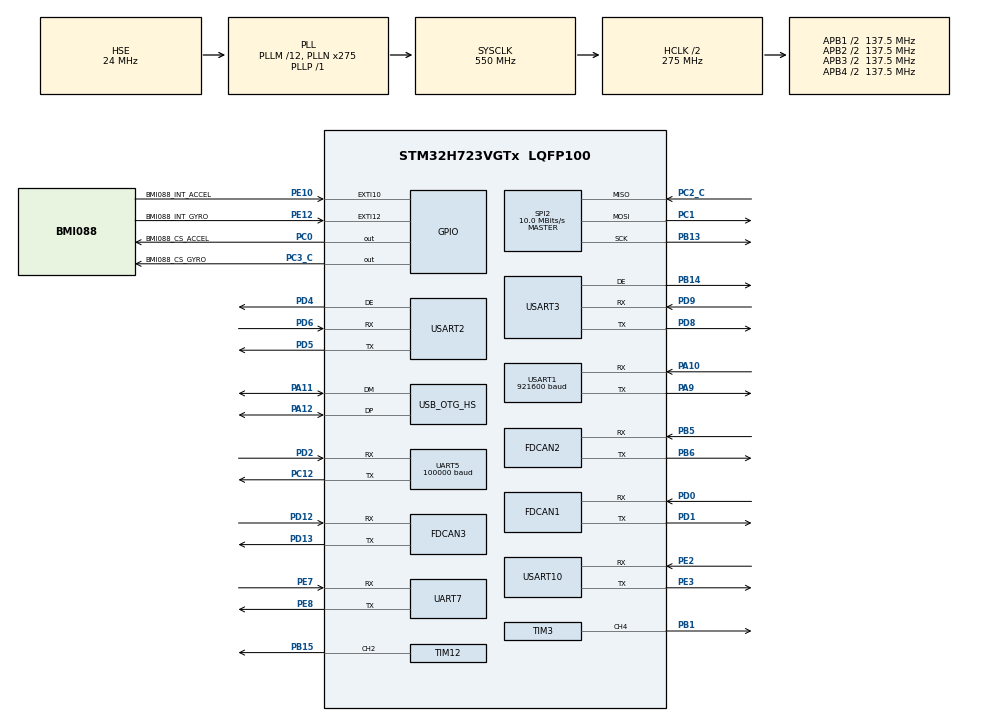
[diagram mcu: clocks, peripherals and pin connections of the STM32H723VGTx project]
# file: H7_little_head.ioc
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CORTEX_M7.AccessPermission_S-Cortex_Memory_Protection_Unit_Region1_Settings_S=MPU_REGION_FULL_ACCESS
CORTEX_M7.BaseAddress_S-Cortex_Memory_Protection_Unit_Region1_Settings_S=0x24000000
CORTEX_M7.BaseAddress_Spec=0x0
CORTEX_M7.CPU_DCache=Enabled
CORTEX_M7.CPU_ICache=Enabled
CORTEX_M7.DisableExec_S-Cortex_Memory_Protection_Unit_Region1_Settings_S=MPU_INSTRUCTION_ACCESS_DISABLE
CORTEX_M7.Enable_S-Cortex_Memory_Protection_Unit_Region1_Settings_S=MPU_REGION_ENABLE
CORTEX_M7.Enable_S-Cortex_Memory_Protection_Unit_Region2_Settings_S=__NULL
CORTEX_M7.Enable_Spec=MPU_REGION_ENABLE
CORTEX_M7.IsShareable_S-Cortex_Memory_Protection_Unit_Region1_Settings_S=MPU_ACCESS_SHAREABLE
CORTEX_M7.Size_S-Cortex_Memory_Protection_Unit_Region1_Settings_S=MPU_REGION_SIZE_512KB
CORTEX_M7.Size_Spec=MPU_REGION_SIZE_4GB
CORTEX_M7.TypeExtField_S-Cortex_Memory_Protection_Unit_Region1_Settings_S=MPU_TEX_LEVEL1
CORTEX_M7.default_mode_Activation=1
Dma.Request0=UART5_RX
Dma.Request1=USART1_RX
Dma.Request10=USART3_TX
Dma.Request2=USART1_TX
Dma.Request3=UART7_RX
Dma.Request4=UART7_TX
Dma.Request5=USART10_RX
Dma.Request6=USART10_TX
Dma.Request7=USART3_RX
Dma.Request8=USART2_RX
Dma.Request9=USART2_TX
Dma.UART5_RX.0.Direction=DMA_PERIPH_TO_MEMORY
Dma.UART5_RX.0.EventEnable=DISABLE
Dma.UART5_RX.0.FIFOMode=DMA_FIFOMODE_DISABLE
Dma.UART5_RX.0.Instance=DMA1_Stream0
Dma.UART5_RX.0.MemDataAlignment=DMA_MDATAALIGN_BYTE
Dma.UART5_RX.0.MemInc=DMA_MINC_ENABLE
Dma.UART5_RX.0.Mode=DMA_CIRCULAR
Dma.UART5_RX.0.PeriphDataAlignment=DMA_PDATAALIGN_BYTE
Dma.UART5_RX.0.PeriphInc=DMA_PINC_DISABLE
Dma.UART5_RX.0.Polarity=HAL_DMAMUX_REQ_GEN_RISING
Dma.UART5_RX.0.Priority=DMA_PRIORITY_VERY_HIGH
Dma.UART5_RX.0.RequestNumber=1
Dma.UART5_RX.0.SignalID=NONE
Dma.UART5_RX.0.SyncEnable=DISABLE
Dma.UART5_RX.0.SyncPolarity=HAL_DMAMUX_SYNC_NO_EVENT
Dma.UART5_RX.0.SyncRequestNumber=1
Dma.UART5_RX.0.SyncSignalID=NONE
Dma.UART7_RX.3.Direction=DMA_PERIPH_TO_MEMORY
Dma.UART7_RX.3.EventEnable=DISABLE
Dma.UART7_RX.3.FIFOMode=DMA_FIFOMODE_DISABLE
Dma.UART7_RX.3.Instance=DMA1_Stream1
Dma.UART7_RX.3.MemDataAlignment=DMA_MDATAALIGN_BYTE
Dma.UART7_RX.3.MemInc=DMA_MINC_ENABLE
Dma.UART7_RX.3.Mode=DMA_CIRCULAR
Dma.UART7_RX.3.PeriphDataAlignment=DMA_PDATAALIGN_BYTE
Dma.UART7_RX.3.PeriphInc=DMA_PINC_DISABLE
Dma.UART7_RX.3.Polarity=HAL_DMAMUX_REQ_GEN_RISING
Dma.UART7_RX.3.Priority=DMA_PRIORITY_VERY_HIGH
Dma.UART7_RX.3.RequestNumber=1
Dma.UART7_RX.3.SignalID=NONE
Dma.UART7_RX.3.SyncEnable=DISABLE
Dma.UART7_RX.3.SyncPolarity=HAL_DMAMUX_SYNC_NO_EVENT
Dma.UART7_RX.3.SyncRequestNumber=1
Dma.UART7_RX.3.SyncSignalID=NONE
Dma.UART7_TX.4.Direction=DMA_MEMORY_TO_PERIPH
Dma.UART7_TX.4.EventEnable=DISABLE
Dma.UART7_TX.4.FIFOMode=DMA_FIFOMODE_DISABLE
Dma.UART7_TX.4.Instance=DMA1_Stream2
Dma.UART7_TX.4.MemDataAlignment=DMA_MDATAALIGN_BYTE
Dma.UART7_TX.4.MemInc=DMA_MINC_ENABLE
Dma.UART7_TX.4.Mode=DMA_NORMAL
Dma.UART7_TX.4.PeriphDataAlignment=DMA_PDATAALIGN_BYTE
Dma.UART7_TX.4.PeriphInc=DMA_PINC_DISABLE
Dma.UART7_TX.4.Polarity=HAL_DMAMUX_REQ_GEN_RISING
Dma.UART7_TX.4.Priority=DMA_PRIORITY_MEDIUM
Dma.UART7_TX.4.RequestNumber=1
Dma.UART7_TX.4.SignalID=NONE
Dma.UART7_TX.4.SyncEnable=DISABLE
Dma.UART7_TX.4.SyncPolarity=HAL_DMAMUX_SYNC_NO_EVENT
Dma.UART7_TX.4.SyncRequestNumber=1
Dma.UART7_TX.4.SyncSignalID=NONE
Dma.USART10_RX.5.Direction=DMA_PERIPH_TO_MEMORY
Dma.USART10_RX.5.EventEnable=DISABLE
Dma.USART10_RX.5.FIFOMode=DMA_FIFOMODE_DISABLE
Dma.USART10_RX.5.Instance=DMA2_Stream2
Dma.USART10_RX.5.MemDataAlignment=DMA_MDATAALIGN_BYTE
Dma.USART10_RX.5.MemInc=DMA_MINC_ENABLE
Dma.USART10_RX.5.Mode=DMA_CIRCULAR
Dma.USART10_RX.5.PeriphDataAlignment=DMA_PDATAALIGN_BYTE
Dma.USART10_RX.5.PeriphInc=DMA_PINC_DISABLE
Dma.USART10_RX.5.Polarity=HAL_DMAMUX_REQ_GEN_RISING
Dma.USART10_RX.5.Priority=DMA_PRIORITY_VERY_HIGH
Dma.USART10_RX.5.RequestNumber=1
Dma.USART10_RX.5.SignalID=NONE
Dma.USART10_RX.5.SyncEnable=DISABLE
Dma.USART10_RX.5.SyncPolarity=HAL_DMAMUX_SYNC_NO_EVENT
Dma.USART10_RX.5.SyncRequestNumber=1
Dma.USART10_RX.5.SyncSignalID=NONE
Dma.USART10_TX.6.Direction=DMA_MEMORY_TO_PERIPH
Dma.USART10_TX.6.EventEnable=DISABLE
Dma.USART10_TX.6.FIFOMode=DMA_FIFOMODE_DISABLE
Dma.USART10_TX.6.Instance=DMA2_Stream3
Dma.USART10_TX.6.MemDataAlignment=DMA_MDATAALIGN_BYTE
Dma.USART10_TX.6.MemInc=DMA_MINC_ENABLE
Dma.USART10_TX.6.Mode=DMA_NORMAL
Dma.USART10_TX.6.PeriphDataAlignment=DMA_PDATAALIGN_BYTE
Dma.USART10_TX.6.PeriphInc=DMA_PINC_DISABLE
Dma.USART10_TX.6.Polarity=HAL_DMAMUX_REQ_GEN_RISING
Dma.USART10_TX.6.Priority=DMA_PRIORITY_MEDIUM
Dma.USART10_TX.6.RequestNumber=1
Dma.USART10_TX.6.SignalID=NONE
Dma.USART10_TX.6.SyncEnable=DISABLE
Dma.USART10_TX.6.SyncPolarity=HAL_DMAMUX_SYNC_NO_EVENT
Dma.USART10_TX.6.SyncRequestNumber=1
Dma.USART10_TX.6.SyncSignalID=NONE
Dma.USART1_RX.1.Direction=DMA_PERIPH_TO_MEMORY
Dma.USART1_RX.1.EventEnable=DISABLE
Dma.USART1_RX.1.FIFOMode=DMA_FIFOMODE_DISABLE
Dma.USART1_RX.1.Instance=DMA2_Stream1
Dma.USART1_RX.1.MemDataAlignment=DMA_MDATAALIGN_BYTE
Dma.USART1_RX.1.MemInc=DMA_MINC_ENABLE
Dma.USART1_RX.1.Mode=DMA_CIRCULAR
Dma.USART1_RX.1.PeriphDataAlignment=DMA_PDATAALIGN_BYTE
Dma.USART1_RX.1.PeriphInc=DMA_PINC_DISABLE
Dma.USART1_RX.1.Polarity=HAL_DMAMUX_REQ_GEN_RISING
Dma.USART1_RX.1.Priority=DMA_PRIORITY_VERY_HIGH
Dma.USART1_RX.1.RequestNumber=1
Dma.USART1_RX.1.SignalID=NONE
Dma.USART1_RX.1.SyncEnable=DISABLE
Dma.USART1_RX.1.SyncPolarity=HAL_DMAMUX_SYNC_NO_EVENT
Dma.USART1_RX.1.SyncRequestNumber=1
Dma.USART1_RX.1.SyncSignalID=NONE
Dma.USART1_TX.2.Direction=DMA_MEMORY_TO_PERIPH
Dma.USART1_TX.2.EventEnable=DISABLE
Dma.USART1_TX.2.FIFOMode=DMA_FIFOMODE_DISABLE
Dma.USART1_TX.2.Instance=DMA2_Stream0
Dma.USART1_TX.2.MemDataAlignment=DMA_MDATAALIGN_BYTE
Dma.USART1_TX.2.MemInc=DMA_MINC_ENABLE
Dma.USART1_TX.2.Mode=DMA_NORMAL
Dma.USART1_TX.2.PeriphDataAlignment=DMA_PDATAALIGN_BYTE
Dma.USART1_TX.2.PeriphInc=DMA_PINC_DISABLE
Dma.USART1_TX.2.Polarity=HAL_DMAMUX_REQ_GEN_RISING
Dma.USART1_TX.2.Priority=DMA_PRIORITY_MEDIUM
Dma.USART1_TX.2.RequestNumber=1
Dma.USART1_TX.2.SignalID=NONE
Dma.USART1_TX.2.SyncEnable=DISABLE
Dma.USART1_TX.2.SyncPolarity=HAL_DMAMUX_SYNC_NO_EVENT
Dma.USART1_TX.2.SyncRequestNumber=1
Dma.USART1_TX.2.SyncSignalID=NONE
Dma.USART2_RX.8.Direction=DMA_PERIPH_TO_MEMORY
Dma.USART2_RX.8.EventEnable=DISABLE
Dma.USART2_RX.8.FIFOMode=DMA_FIFOMODE_DISABLE
Dma.USART2_RX.8.Instance=DMA1_Stream3
Dma.USART2_RX.8.MemDataAlignment=DMA_MDATAALIGN_BYTE
Dma.USART2_RX.8.MemInc=DMA_MINC_ENABLE
Dma.USART2_RX.8.Mode=DMA_CIRCULAR
Dma.USART2_RX.8.PeriphDataAlignment=DMA_PDATAALIGN_BYTE
Dma.USART2_RX.8.PeriphInc=DMA_PINC_DISABLE
Dma.USART2_RX.8.Polarity=HAL_DMAMUX_REQ_GEN_RISING
Dma.USART2_RX.8.Priority=DMA_PRIORITY_HIGH
Dma.USART2_RX.8.RequestNumber=1
Dma.USART2_RX.8.SignalID=NONE
Dma.USART2_RX.8.SyncEnable=DISABLE
Dma.USART2_RX.8.SyncPolarity=HAL_DMAMUX_SYNC_NO_EVENT
Dma.USART2_RX.8.SyncRequestNumber=1
Dma.USART2_RX.8.SyncSignalID=NONE
Dma.USART2_TX.9.Direction=DMA_MEMORY_TO_PERIPH
Dma.USART2_TX.9.EventEnable=DISABLE
Dma.USART2_TX.9.FIFOMode=DMA_FIFOMODE_DISABLE
Dma.USART2_TX.9.Instance=DMA1_Stream4
Dma.USART2_TX.9.MemDataAlignment=DMA_MDATAALIGN_BYTE
Dma.USART2_TX.9.MemInc=DMA_MINC_ENABLE
Dma.USART2_TX.9.Mode=DMA_NORMAL
Dma.USART2_TX.9.PeriphDataAlignment=DMA_PDATAALIGN_BYTE
Dma.USART2_TX.9.PeriphInc=DMA_PINC_DISABLE
Dma.USART2_TX.9.Polarity=HAL_DMAMUX_REQ_GEN_RISING
Dma.USART2_TX.9.Priority=DMA_PRIORITY_LOW
Dma.USART2_TX.9.RequestNumber=1
Dma.USART2_TX.9.SignalID=NONE
Dma.USART2_TX.9.SyncEnable=DISABLE
Dma.USART2_TX.9.SyncPolarity=HAL_DMAMUX_SYNC_NO_EVENT
Dma.USART2_TX.9.SyncRequestNumber=1
Dma.USART2_TX.9.SyncSignalID=NONE
Dma.USART3_RX.7.Direction=DMA_PERIPH_TO_MEMORY
Dma.USART3_RX.7.EventEnable=DISABLE
Dma.USART3_RX.7.FIFOMode=DMA_FIFOMODE_DISABLE
Dma.USART3_RX.7.Instance=DMA2_Stream4
Dma.USART3_RX.7.MemDataAlignment=DMA_MDATAALIGN_BYTE
Dma.USART3_RX.7.MemInc=DMA_MINC_ENABLE
Dma.USART3_RX.7.Mode=DMA_CIRCULAR
Dma.USART3_RX.7.PeriphDataAlignment=DMA_PDATAALIGN_BYTE
Dma.USART3_RX.7.PeriphInc=DMA_PINC_DISABLE
Dma.USART3_RX.7.Polarity=HAL_DMAMUX_REQ_GEN_RISING
Dma.USART3_RX.7.Priority=DMA_PRIORITY_HIGH
Dma.USART3_RX.7.RequestNumber=1
Dma.USART3_RX.7.SignalID=NONE
Dma.USART3_RX.7.SyncEnable=DISABLE
Dma.USART3_RX.7.SyncPolarity=HAL_DMAMUX_SYNC_NO_EVENT
Dma.USART3_RX.7.SyncRequestNumber=1
Dma.USART3_RX.7.SyncSignalID=NONE
Dma.USART3_TX.10.Direction=DMA_MEMORY_TO_PERIPH
Dma.USART3_TX.10.EventEnable=DISABLE
Dma.USART3_TX.10.FIFOMode=DMA_FIFOMODE_DISABLE
Dma.USART3_TX.10.Instance=DMA2_Stream5
Dma.USART3_TX.10.MemDataAlignment=DMA_MDATAALIGN_BYTE
Dma.USART3_TX.10.MemInc=DMA_MINC_ENABLE
Dma.USART3_TX.10.Mode=DMA_NORMAL
Dma.USART3_TX.10.PeriphDataAlignment=DMA_PDATAALIGN_BYTE
Dma.USART3_TX.10.PeriphInc=DMA_PINC_DISABLE
Dma.USART3_TX.10.Polarity=HAL_DMAMUX_REQ_GEN_RISING
Dma.USART3_TX.10.Priority=DMA_PRIORITY_LOW
Dma.USART3_TX.10.RequestNumber=1
Dma.USART3_TX.10.SignalID=NONE
Dma.USART3_TX.10.SyncEnable=DISABLE
Dma.USART3_TX.10.SyncPolarity=HAL_DMAMUX_SYNC_NO_EVENT
Dma.USART3_TX.10.SyncRequestNumber=1
Dma.USART3_TX.10.SyncSignalID=NONE
FDCAN1.CalculateBaudRateNominal=1000000
FDCAN1.CalculateTimeBitNominal=1000
FDCAN1.CalculateTimeQuantumNominal=62.5
FDCAN1.NominalPrescaler=5
FDCAN1.NominalSyncJumpWidth=2
FDCAN1.NominalTimeSeg1=13
FDCAN1.NominalTimeSeg2=2
FDCAN1.RxFifo0ElmtsNbr=32
FDCAN1.StdFiltersNbr=1
FDCAN1.TxFifoQueueElmtsNbr=32
FDCAN2.AutoRetransmission=DISABLE
FDCAN2.CalculateBaudRateNominal=1000000
FDCAN2.CalculateTimeBitNominal=1000
FDCAN2.CalculateTimeQuantumNominal=62.5
FDCAN2.MessageRAMOffset=853
FDCAN2.NominalPrescaler=5
FDCAN2.NominalSyncJumpWidth=2
FDCAN2.NominalTimeSeg1=13
FDCAN2.NominalTimeSeg2=2
FDCAN2.RxFifo0ElmtsNbr=32
FDCAN2.StdFiltersNbr=1
FDCAN2.TxFifoQueueElmtsNbr=32
FDCAN3.AutoRetransmission=DISABLE
FDCAN3.CalculateBaudRateNominal=1000000
FDCAN3.CalculateTimeBitNominal=1000
FDCAN3.CalculateTimeQuantumNominal=62.5
FDCAN3.MessageRAMOffset=1706
FDCAN3.NominalPrescaler=5
FDCAN3.NominalSyncJumpWidth=2
FDCAN3.NominalTimeSeg1=13
FDCAN3.NominalTimeSeg2=2
FDCAN3.RxFifo0ElmtsNbr=32
FDCAN3.StdFiltersNbr=1
FDCAN3.TxFifoQueueElmtsNbr=32
FREERTOS.Tasks01=defaultTask,55,128,StartDefaultTask,As weak,NULL,Dynamic,NULL,NULL
Mcu.Family=STM32H7
Mcu.Name=STM32H723VGTx
Mcu.Package=LQFP100
NVIC.DMA1_Stream0_IRQn=true\:6\:0\:true\:false\:true\:true\:false\:true\:true
NVIC.DMA1_Stream1_IRQn=true\:7\:0\:true\:false\:true\:true\:false\:true\:true
NVIC.DMA1_Stream2_IRQn=true\:7\:0\:true\:false\:true\:true\:false\:true\:true
NVIC.DMA1_Stream3_IRQn=true\:8\:0\:true\:false\:true\:true\:false\:true\:true
NVIC.DMA1_Stream4_IRQn=true\:8\:0\:true\:false\:true\:true\:false\:true\:true
NVIC.DMA2_Stream0_IRQn=true\:7\:0\:true\:false\:true\:true\:false\:true\:true
NVIC.DMA2_Stream1_IRQn=true\:7\:0\:true\:false\:true\:true\:false\:true\:true
NVIC.DMA2_Stream2_IRQn=true\:7\:0\:true\:false\:true\:true\:false\:true\:true
NVIC.DMA2_Stream3_IRQn=true\:7\:0\:true\:false\:true\:true\:false\:true\:true
NVIC.DMA2_Stream4_IRQn=true\:8\:0\:true\:false\:true\:false\:false\:true\:true
NVIC.DMA2_Stream5_IRQn=true\:8\:0\:true\:false\:true\:false\:false\:true\:true
NVIC.EXTI15_10_IRQn=true\:5\:0\:true\:false\:true\:false\:true\:true\:true
NVIC.FDCAN1_IT0_IRQn=true\:5\:0\:false\:false\:true\:true\:true\:true\:true
NVIC.FDCAN2_IT0_IRQn=true\:5\:0\:false\:false\:true\:true\:true\:true\:true
NVIC.FDCAN3_IT0_IRQn=true\:5\:0\:false\:false\:true\:true\:true\:true\:true
NVIC.OTG_HS_IRQn=true\:5\:0\:false\:false\:true\:true\:false\:true\:true
NVIC.PriorityGroup=NVIC_PRIORITYGROUP_4
NVIC.TIM6_DAC_IRQn=true\:15\:0\:false\:false\:true\:false\:false\:true\:true
NVIC.TIM7_IRQn=true\:5\:0\:false\:false\:true\:true\:true\:true\:true
NVIC.TimeBase=TIM6_DAC_IRQn
NVIC.TimeBaseIP=TIM6
NVIC.UART5_IRQn=true\:6\:0\:true\:false\:true\:true\:true\:true\:true
NVIC.UART7_IRQn=true\:7\:0\:true\:false\:true\:true\:true\:true\:true
NVIC.USART10_IRQn=true\:7\:0\:true\:false\:true\:true\:true\:true\:true
NVIC.USART1_IRQn=true\:7\:0\:true\:false\:true\:true\:true\:true\:true
NVIC.USART2_IRQn=true\:8\:0\:true\:false\:true\:true\:true\:true\:true
NVIC.USART3_IRQn=true\:8\:0\:true\:false\:true\:true\:true\:true\:true
PA10.Mode=Asynchronous
PA10.Signal=USART1_RX
PA11.Mode=Device_Only_FS
PA11.Signal=USB_OTG_HS_DM
PA12.Mode=Device_Only_FS
PA12.Signal=USB_OTG_HS_DP
PA13(JTMS/SWDIO).Mode=Serial_Wire
PA13(JTMS/SWDIO).Signal=DEBUG_JTMS-SWDIO
PA14(JTCK/SWCLK).Mode=Serial_Wire
PA14(JTCK/SWCLK).Signal=DEBUG_JTCK-SWCLK
PA9.Mode=Asynchronous
PA9.Signal=USART1_TX
PB1.Signal=S_TIM3_CH4
PB13.GPIO_Speed=GPIO_SPEED_FREQ_HIGH
PB13.Mode=Full_Duplex_Master
PB13.Signal=SPI2_SCK
PB14.Mode=Hardware Flow Control (RS485)
PB14.Signal=USART3_DE
PB15.Signal=S_TIM12_CH2
PB5.Mode=FDCAN_Activate
PB5.Signal=FDCAN2_RX
PB6.Mode=FDCAN_Activate
PB6.Signal=FDCAN2_TX
PC0.GPIO_Label=BMI088_CS_ACCEL
PC0.GPIO_PuPd=GPIO_NOPULL
PC0.PinState=GPIO_PIN_SET
PC0.Signal=GPIO_Output
PC1.GPIO_Speed=GPIO_SPEED_FREQ_HIGH
PC1.Mode=Full_Duplex_Master
PC1.Signal=SPI2_MOSI
PC12.Mode=Asynchronous
PC12.Signal=UART5_TX
PC2_C.GPIO_Speed=GPIO_SPEED_FREQ_LOW
PC2_C.Mode=Full_Duplex_Master
PC2_C.Signal=SPI2_MISO
PC3_C.GPIO_Label=BMI088_CS_GYRO
PC3_C.GPIO_PuPd=GPIO_NOPULL
PC3_C.PinState=GPIO_PIN_SET
PC3_C.Signal=GPIO_Output
PD0.Mode=FDCAN_Activate
PD0.Signal=FDCAN1_RX
PD1.Mode=FDCAN_Activate
PD1.Signal=FDCAN1_TX
PD12.Mode=FDCAN_Activate
PD12.Signal=FDCAN3_RX
PD13.Mode=FDCAN_Activate
PD13.Signal=FDCAN3_TX
PD2.Mode=Asynchronous
PD2.Signal=UART5_RX
PD4.Mode=Hardware Flow Control (RS485)
PD4.Signal=USART2_DE
PD5.Mode=Asynchronous
PD5.Signal=USART2_TX
PD6.Mode=Asynchronous
PD6.Signal=USART2_RX
PD8.Mode=Asynchronous
PD8.Signal=USART3_TX
PD9.Mode=Asynchronous
PD9.Signal=USART3_RX
PE10.GPIO_Label=BMI088_INT_ACCEL
PE10.GPIO_ModeDefaultEXTI=GPIO_MODE_IT_FALLING
PE10.GPIO_PuPd=GPIO_NOPULL
PE10.Signal=GPXTI10
PE12.GPIO_Label=BMI088_INT_GYRO
PE12.GPIO_ModeDefaultEXTI=GPIO_MODE_IT_FALLING
PE12.GPIO_PuPd=GPIO_NOPULL
PE12.Signal=GPXTI12
PE2.Mode=Asynchronous
PE2.Signal=USART10_RX
PE3.Mode=Asynchronous
PE3.Signal=USART10_TX
PE7.Mode=Asynchronous
PE7.Signal=UART7_RX
PE8.Mode=Asynchronous
PE8.Signal=UART7_TX
PH0-OSC_IN.Mode=HSE-External-Oscillator
PH0-OSC_IN.Signal=RCC_OSC_IN
PH1-OSC_OUT.Mode=HSE-External-Oscillator
PH1-OSC_OUT.Signal=RCC_OSC_OUT
ProjectManager.HeapSize=0x200
ProjectManager.StackSize=0x400
ProjectManager.TargetToolchain=CMake
RCC.ADCFreq_Value=80000000
RCC.APB1Freq_Value=137500000
RCC.APB2Freq_Value=137500000
RCC.APB3Freq_Value=137500000
RCC.APB4Freq_Value=137500000
RCC.CKPERSourceSelection=RCC_CLKPSOURCE_HSE
RCC.CortexFreq_Value=550000000
RCC.D1PPRE=RCC_APB3_DIV2
RCC.D2PPRE1=RCC_APB1_DIV2
RCC.D2PPRE2=RCC_APB2_DIV2
RCC.D3PPRE=RCC_APB4_DIV2
RCC.DIVM1=12
RCC.DIVM2=6
RCC.DIVN1=275
RCC.DIVN2=60
RCC.DIVP1=1
RCC.DIVP2=3
RCC.DIVQ1=4
RCC.DIVQ2=3
RCC.FDCANCLockSelection=RCC_FDCANCLKSOURCE_PLL2
RCC.HCLKFreq_Value=275000000
RCC.HPRE=RCC_HCLK_DIV2
RCC.HSE_VALUE=24000000
RCC.PLL2FRACN=0
RCC.PLL3FRACN=0
RCC.PLLFRACN=0
RCC.PLLSourceVirtual=RCC_PLLSOURCE_HSE
RCC.SPI123CLockSelection=RCC_SPI123CLKSOURCE_PLL2
RCC.SPI6CLockSelection=RCC_SPI6CLKSOURCE_HSE
RCC.SYSCLKFreq_VALUE=550000000
RCC.SYSCLKSource=RCC_SYSCLKSOURCE_PLLCLK
RCC.USBCLockSelection=RCC_USBCLKSOURCE_HSI48
RCC.USBFreq_Value=48000000
SH.S_TIM12_CH2.0=TIM12_CH2,PWM Generation2 CH2
SH.S_TIM3_CH4.0=TIM3_CH4,PWM Generation4 CH4
SPI2.BaudRatePrescaler=SPI_BAUDRATEPRESCALER_8
SPI2.CalculateBaudRate=10.0 MBits/s
SPI2.DataSize=SPI_DATASIZE_8BIT
SPI2.Direction=SPI_DIRECTION_2LINES
SPI2.Mode=SPI_MODE_MASTER
SPI2.VirtualType=VM_MASTER
TIM12.Channel-PWM\ Generation2\ CH2=TIM_CHANNEL_2
TIM12.Period=34374
TIM12.Prescaler=1
TIM3.Channel-PWM\ Generation4\ CH4=TIM_CHANNEL_4
TIM3.Period=4999
TIM3.Prescaler=2
TIM7.Period=999
TIM7.Prescaler=274
UART5.BaudRate=100000
UART5.Mode=MODE_RX
UART5.Parity=PARITY_EVEN
UART5.WordLength=WORDLENGTH_9B
USART1.BaudRate=921600
USART1.VirtualMode-Asynchronous=VM_ASYNC
USART10.VirtualMode=VM_ASYNC
USART2.VirtualMode-Asynchronous=VM_ASYNC
USART2.VirtualMode-Hardware\ Flow\ Control\ (RS485)=VM_ASYNC
USART3.VirtualMode-Asynchronous=VM_ASYNC
USART3.VirtualMode-Hardware\ Flow\ Control\ (RS485)=VM_ASYNC
USB_DEVICE.CLASS_NAME_HS=CDC
USB_DEVICE.VirtualMode=Cdc
USB_DEVICE.VirtualModeHS=Cdc_HS
USB_OTG_HS.VirtualMode-Device_Only_FS=Device_Only_FS
VP_FREERTOS_VS_CMSIS_V2.Mode=CMSIS_V2
VP_MEMORYMAP_VS_MEMORYMAP.Mode=CurAppReg
VP_SYS_VS_tim6.Mode=TIM6
VP_TIM7_VS_ClockSourceINT.Mode=Enable_Timer
VP_USB_DEVICE_VS_USB_DEVICE_CDC_HS.Mode=CDC_HS
board=custom

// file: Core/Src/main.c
/* USER CODE BEGIN Header */
/**
  ******************************************************************************
  * @file           : main.c
  * @brief          : Main program body
  ******************************************************************************
  * @attention
  *
  * Copyright (c) 2026 STMicroelectronics.
  * All rights reserved.
  *
  * This software is licensed under terms that can be found in the LICENSE file
  * in the root directory of this software component.
  * If no LICENSE file comes with this software, it is provided AS-IS.
  *
  ******************************************************************************
  */
/* USER CODE END Header */
#include "main.h"
#include "FreeRTOS.h"
#include "cmsis_os2.h"
#include "dma.h"
#include "fdcan.h"
#include "spi.h"
#include "tim.h"
#include "usart.h"
#include "usb_device.h"
#include "gpio.h"

/* USER CODE BEGIN Includes */
#include "robot_sdk.h"

/* USER CODE END Includes */

void SystemClock_Config(void);
void PeriphCommonClock_Config(void);
static void MPU_Config(void);
void MX_FREERTOS_Init(void);

int main(void)
{

  /* MPU Configuration--------------------------------------------------------*/
  MPU_Config();

  /* Enable the CPU Cache */

  /* Enable I-Cache---------------------------------------------------------*/
  SCB_EnableICache();

  /* Enable D-Cache---------------------------------------------------------*/
  SCB_EnableDCache();

  /* MCU Configuration--------------------------------------------------------*/

  /* Reset of all peripherals, Initializes the Flash interface and the Systick. */
  HAL_Init();

  /* Configure the system clock */
  SystemClock_Config();

  /* Configure the peripherals common clocks */
  PeriphCommonClock_Config();

  /* Initialize all configured peripherals */
  MX_GPIO_Init();
  MX_DMA_Init();
  MX_FDCAN1_Init();
  MX_FDCAN2_Init();
  MX_FDCAN3_Init();
  MX_SPI2_Init();
  MX_USART1_UART_Init();
  MX_UART5_Init();
  MX_UART7_Init();
  MX_USART10_UART_Init();
  MX_USART2_UART_Init();
  MX_USART3_UART_Init();
  MX_TIM7_Init();
  MX_TIM12_Init();
  MX_TIM3_Init();
  /* USER CODE BEGIN 2 */
  MX_USB_DEVICE_Init();
  robot_sdk_init();

  /* USER CODE END 2 */

  /* Init scheduler */
  osKernelInitialize();  /* Call init function for freertos objects (in cmsis_os2.c) */
  MX_FREERTOS_Init();

  /* Start scheduler */
  osKernelStart();

  /* We should never get here as control is now taken by the scheduler */

  /* Infinite loop */
  while (1)
  {

  }
}

void SystemClock_Config(void)
{
  RCC_OscInitTypeDef RCC_OscInitStruct = {0};
  RCC_ClkInitTypeDef RCC_ClkInitStruct = {0};

  /** Supply configuration update enable
  */
  HAL_PWREx_ConfigSupply(PWR_LDO_SUPPLY);

  /** Configure the main internal regulator output voltage
  */
  __HAL_PWR_VOLTAGESCALING_CONFIG(PWR_REGULATOR_VOLTAGE_SCALE0);

  while(!__HAL_PWR_GET_FLAG(PWR_FLAG_VOSRDY)) {}

  /** Initializes the RCC Oscillators according to the specified parameters
  * in the RCC_OscInitTypeDef structure.
  */
  RCC_OscInitStruct.OscillatorType = RCC_OSCILLATORTYPE_HSI48|RCC_OSCILLATORTYPE_HSE;
  RCC_OscInitStruct.HSEState = RCC_HSE_ON;
  RCC_OscInitStruct.HSI48State = RCC_HSI48_ON;
  RCC_OscInitStruct.PLL.PLLState = RCC_PLL_ON;
  RCC_OscInitStruct.PLL.PLLSource = RCC_PLLSOURCE_HSE;
  RCC_OscInitStruct.PLL.PLLM = 12;
  RCC_OscInitStruct.PLL.PLLN = 275;
  RCC_OscInitStruct.PLL.PLLP = 1;
  RCC_OscInitStruct.PLL.PLLQ = 4;
  RCC_OscInitStruct.PLL.PLLR = 2;
  RCC_OscInitStruct.PLL.PLLRGE = RCC_PLL1VCIRANGE_1;
  RCC_OscInitStruct.PLL.PLLVCOSEL = RCC_PLL1VCOWIDE;
  RCC_OscInitStruct.PLL.PLLFRACN = 0;
  if (HAL_RCC_OscConfig(&RCC_OscInitStruct) != HAL_OK)
  {
    Error_Handler();
  }

  /** Initializes the CPU, AHB and APB buses clocks
  */
  RCC_ClkInitStruct.ClockType = RCC_CLOCKTYPE_HCLK|RCC_CLOCKTYPE_SYSCLK
                              |RCC_CLOCKTYPE_PCLK1|RCC_CLOCKTYPE_PCLK2
                              |RCC_CLOCKTYPE_D3PCLK1|RCC_CLOCKTYPE_D1PCLK1;
  RCC_ClkInitStruct.SYSCLKSource = RCC_SYSCLKSOURCE_PLLCLK;
  RCC_ClkInitStruct.SYSCLKDivider = RCC_SYSCLK_DIV1;
  RCC_ClkInitStruct.AHBCLKDivider = RCC_HCLK_DIV2;
  RCC_ClkInitStruct.APB3CLKDivider = RCC_APB3_DIV2;
  RCC_ClkInitStruct.APB1CLKDivider = RCC_APB1_DIV2;
  RCC_ClkInitStruct.APB2CLKDivider = RCC_APB2_DIV2;
  RCC_ClkInitStruct.APB4CLKDivider = RCC_APB4_DIV2;

  if (HAL_RCC_ClockConfig(&RCC_ClkInitStruct, FLASH_LATENCY_3) != HAL_OK)
  {
    Error_Handler();
  }
}

void PeriphCommonClock_Config(void)
{
  RCC_PeriphCLKInitTypeDef PeriphClkInitStruct = {0};

  /** Initializes the peripherals clock
  */
  PeriphClkInitStruct.PeriphClockSelection = RCC_PERIPHCLK_SPI2|RCC_PERIPHCLK_FDCAN;
  PeriphClkInitStruct.PLL2.PLL2M = 6;
  PeriphClkInitStruct.PLL2.PLL2N = 60;
  PeriphClkInitStruct.PLL2.PLL2P = 3;
  PeriphClkInitStruct.PLL2.PLL2Q = 3;
  PeriphClkInitStruct.PLL2.PLL2R = 2;
  PeriphClkInitStruct.PLL2.PLL2RGE = RCC_PLL2VCIRANGE_2;
  PeriphClkInitStruct.PLL2.PLL2VCOSEL = RCC_PLL2VCOWIDE;
  PeriphClkInitStruct.PLL2.PLL2FRACN = 0;
  PeriphClkInitStruct.Spi123ClockSelection = RCC_SPI123CLKSOURCE_PLL2;
  PeriphClkInitStruct.FdcanClockSelection = RCC_FDCANCLKSOURCE_PLL2;
  if (HAL_RCCEx_PeriphCLKConfig(&PeriphClkInitStruct) != HAL_OK)
  {
    Error_Handler();
  }
}

 /* MPU Configuration */

void MPU_Config(void)
{
  MPU_Region_InitTypeDef MPU_InitStruct = {0};

  /* Disables the MPU */
  HAL_MPU_Disable();

  /** Initializes and configures the Region and the memory to be protected
  */
  MPU_InitStruct.Enable = MPU_REGION_ENABLE;
  MPU_InitStruct.Number = MPU_REGION_NUMBER0;
  MPU_InitStruct.BaseAddress = 0x0;
  MPU_InitStruct.Size = MPU_REGION_SIZE_4GB;
  MPU_InitStruct.SubRegionDisable = 0x87;
  MPU_InitStruct.TypeExtField = MPU_TEX_LEVEL0;
  MPU_InitStruct.AccessPermission = MPU_REGION_NO_ACCESS;
  MPU_InitStruct.DisableExec = MPU_INSTRUCTION_ACCESS_DISABLE;
  MPU_InitStruct.IsShareable = MPU_ACCESS_SHAREABLE;
  MPU_InitStruct.IsCacheable = MPU_ACCESS_NOT_CACHEABLE;
  MPU_InitStruct.IsBufferable = MPU_ACCESS_NOT_BUFFERABLE;

  HAL_MPU_ConfigRegion(&MPU_InitStruct);

  /** Initializes and configures the Region and the memory to be protected
  */
  MPU_InitStruct.Number = MPU_REGION_NUMBER1;
  MPU_InitStruct.BaseAddress = 0x24000000;
  MPU_InitStruct.Size = MPU_REGION_SIZE_512KB;
  MPU_InitStruct.SubRegionDisable = 0x0;
  MPU_InitStruct.TypeExtField = MPU_TEX_LEVEL1;
  MPU_InitStruct.AccessPermission = MPU_REGION_FULL_ACCESS;

  HAL_MPU_ConfigRegion(&MPU_InitStruct);
  /* Enables the MPU */
  HAL_MPU_Enable(MPU_PRIVILEGED_DEFAULT);

}

void Error_Handler(void)
{
  __disable_irq();
  while (1)
  {
  }
}

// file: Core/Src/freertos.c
/* USER CODE BEGIN Header */
/**
  ******************************************************************************
  * File Name          : freertos.c
  * Description        : Code for freertos applications
  ******************************************************************************
  * @attention
  *
  * Copyright (c) 2026 STMicroelectronics.
  * All rights reserved.
  *
  * This software is licensed under terms that can be found in the LICENSE file
  * in the root directory of this software component.
  * If no LICENSE file comes with this software, it is provided AS-IS.
  *
  ******************************************************************************
  */
/* USER CODE END Header */

#include "FreeRTOS.h"
#include "task.h"
#include "main.h"
#include "FreeRTOS.h"
#include "cmsis_os2.h"

/* USER CODE BEGIN Variables */
osThreadId_t insTaskHandle;
const osThreadAttr_t insTask_attributes = {
  .name = "insTask",
  .stack_size = 1024 * 4,
  .priority = (osPriority_t) osPriorityRealtime,
};

osThreadId_t gimbalTaskHandle;
const osThreadAttr_t gimbalTask_attributes = {
  .name = "gimbalTask",
  .stack_size = 512 * 4,
  .priority = (osPriority_t) osPriorityHigh,
};

osThreadId_t chassisTaskHandle;
const osThreadAttr_t chassisTask_attributes = {
  .name = "chassisTask",
  .stack_size = 512 * 4,
  .priority = (osPriority_t) osPriorityAboveNormal,
};

osThreadId_t shootTaskHandle;
const osThreadAttr_t shootTask_attributes = {
  .name = "shootTask",
  .stack_size = 512 * 4,
  .priority = (osPriority_t) osPriorityAboveNormal,
};
osThreadId_t visionTaskHandle;
const osThreadAttr_t visionTask_attributes = {
  .name = "visionTask",
  .stack_size = 512 * 4,
  .priority = (osPriority_t) osPriorityAboveNormal,
};

/* USER CODE END Variables */
/* Definitions for defaultTask */
osThreadId_t defaultTaskHandle;
const osThreadAttr_t defaultTask_attributes = {
  .name = "defaultTask",
  .stack_size = 128 * 4,
  .priority = (osPriority_t) osPriorityRealtime7,
};

/* USER CODE BEGIN FunctionPrototypes */
void INS_task(void * argument);
void gimbal_task(void * argument);
void chassis_task(void * argument);
void shoot_task(void * argument);
void vision_task(void * argument);

/* USER CODE END FunctionPrototypes */

void StartDefaultTask(void *argument);

extern void MX_USB_DEVICE_Init(void);
void MX_FREERTOS_Init(void); /* (MISRA C 2004 rule 8.1) */

void MX_FREERTOS_Init(void) {

  /* Create the thread(s) */
  /* creation of defaultTask */
  defaultTaskHandle = osThreadNew(StartDefaultTask, NULL, &defaultTask_attributes);

  /* USER CODE BEGIN RTOS_THREADS */
  /* add threads, ... */
  insTaskHandle = osThreadNew(INS_task, NULL, &insTask_attributes);
  gimbalTaskHandle = osThreadNew(gimbal_task, NULL, &gimbalTask_attributes);
  chassisTaskHandle = osThreadNew(chassis_task, NULL, &chassisTask_attributes);
  shootTaskHandle = osThreadNew(shoot_task, NULL, &shootTask_attributes);
  visionTaskHandle = osThreadNew(vision_task, NULL, &visionTask_attributes);

  /* USER CODE END RTOS_THREADS */

}

__weak void StartDefaultTask(void *argument)
{
  /* init code for USB_DEVICE */
  MX_USB_DEVICE_Init();
  for(;;)
  {
    osDelay(1);
  }
}

/* USER CODE BEGIN Application */
__weak void INS_task(void * argument)
{
    /* Infinite loop */
    for (;;)
    {
        osDelay(1);
    }
}

__weak void gimbal_task(void * argument)
{
    /* Infinite loop */
    for (;;)
    {
        osDelay(1);
    }
}

__weak void chassis_task(void * argument)
{
    /* Infinite loop */
    for (;;)
    {
        osDelay(1);
    }
}

__weak void shoot_task(void * argument)
{
    /* Infinite loop */
    for (;;)
    {
        osDelay(1);
    }
}

__weak void vision_task(void * argument)
{
    /* Infinite loop */
    for (;;)
    {
        osDelay(1);
    }
}

/* USER CODE END Application */

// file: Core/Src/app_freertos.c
/* USER CODE BEGIN Header */
/**
  ******************************************************************************
  * File Name          : app_freertos.c
  * Description        : Code for freertos applications
  ******************************************************************************
  * @attention
  *
  * Copyright (c) 2026 STMicroelectronics.
  * All rights reserved.
  *
  * This software is licensed under terms that can be found in the LICENSE file
  * in the root directory of this software component.
  * If no LICENSE file comes with this software, it is provided AS-IS.
  *
  ******************************************************************************
  */
/* USER CODE END Header */

#include "FreeRTOS.h"
#include "task.h"
#include "main.h"
#include "cmsis_os.h"

#include "usb_device.h"

/* USER CODE BEGIN Variables */
osThreadId_t insTaskHandle;
const osThreadAttr_t insTask_attributes = {
  .name = "insTask",
  .stack_size = 1024 * 4,
  .priority = (osPriority_t) osPriorityRealtime,
};

osThreadId_t gimbalTaskHandle;
const osThreadAttr_t gimbalTask_attributes = {
  .name = "gimbalTask",
  .stack_size = 512 * 4,
  .priority = (osPriority_t) osPriorityHigh,
};

osThreadId_t chassisTaskHandle;
const osThreadAttr_t chassisTask_attributes = {
  .name = "chassisTask",
  .stack_size = 512 * 4,
  .priority = (osPriority_t) osPriorityAboveNormal,
};

osThreadId_t shootTaskHandle;
const osThreadAttr_t shootTask_attributes = {
  .name = "shootTask",
  .stack_size = 512 * 4,
  .priority = (osPriority_t) osPriorityAboveNormal,
};
osThreadId_t visionTaskHandle;
const osThreadAttr_t visionTask_attributes = {
  .name = "visionTask",
  .stack_size = 512 * 4,
  .priority = (osPriority_t) osPriorityAboveNormal,
};

/* USER CODE END Variables */
/* Definitions for defaultTask */
osThreadId_t defaultTaskHandle;
const osThreadAttr_t defaultTask_attributes = {
  .name = "defaultTask",
  .priority = (osPriority_t) osPriorityRealtime7,
  .stack_size = 128 * 4
};

/* USER CODE BEGIN FunctionPrototypes */
void INS_task(void * argument);
void gimbal_task(void * argument);
void chassis_task(void * argument);
void shoot_task(void * argument);
void vision_task(void * argument);

/* USER CODE END FunctionPrototypes */

void StartDefaultTask(void *argument);

void MX_FREERTOS_Init(void); /* (MISRA C 2004 rule 8.1) */

void MX_FREERTOS_Init(void) {

  /* Create the thread(s) */
  /* creation of defaultTask */
  defaultTaskHandle = osThreadNew(StartDefaultTask, NULL, &defaultTask_attributes);

  /* USER CODE BEGIN RTOS_THREADS */
  /* add threads, ... */
  insTaskHandle = osThreadNew(INS_task, NULL, &insTask_attributes);
  gimbalTaskHandle = osThreadNew(gimbal_task, NULL, &gimbalTask_attributes);
  chassisTaskHandle = osThreadNew(chassis_task, NULL, &chassisTask_attributes);
  shootTaskHandle = osThreadNew(shoot_task, NULL, &shootTask_attributes);
  visionTaskHandle = osThreadNew(vision_task, NULL, &visionTask_attributes);

  /* USER CODE END RTOS_THREADS */

}

__weak void StartDefaultTask(void *argument)
{
  /* init code for USB_Device */
  MX_USB_Device_Init();
  for(;;)
  {
    osDelay(1);
  }
}

/* USER CODE BEGIN Application */
__weak void INS_task(void * argument)
{
    /* Infinite loop */
    for (;;)
    {
        osDelay(1);
    }
}

__weak void gimbal_task(void * argument)
{
    /* Infinite loop */
    for (;;)
    {
        osDelay(1);
    }
}

__weak void chassis_task(void * argument)
{
    /* Infinite loop */
    for (;;)
    {
        osDelay(1);
    }
}

__weak void shoot_task(void * argument)
{
    /* Infinite loop */
    for (;;)
    {
        osDelay(1);
    }
}

__weak void vision_task(void * argument)
{
    /* Infinite loop */
    for (;;)
    {
        osDelay(1);
    }
}

/* USER CODE END Application */
